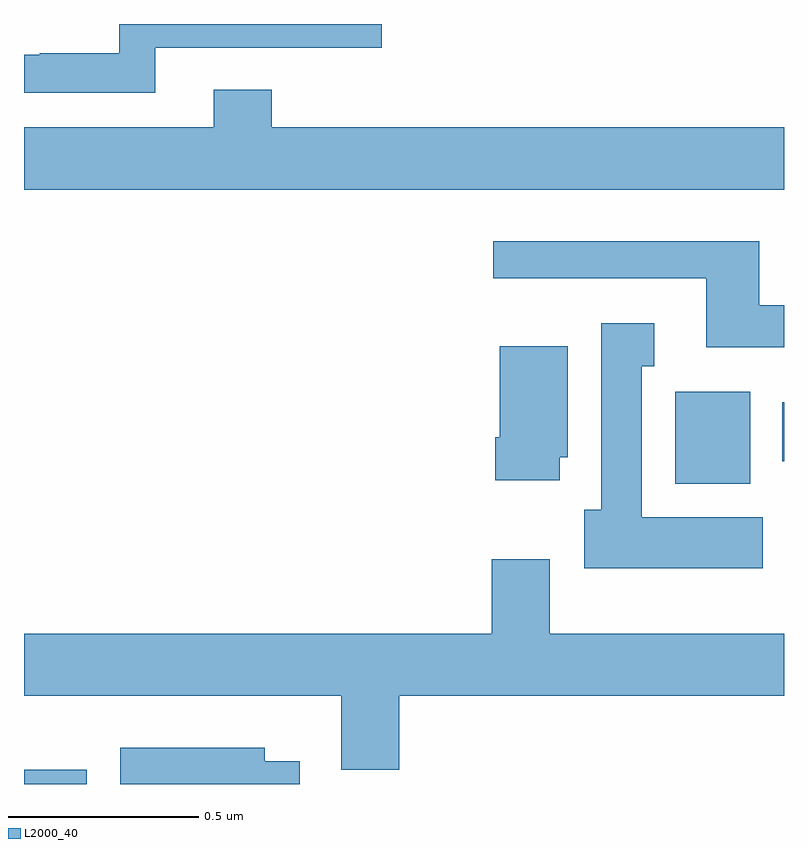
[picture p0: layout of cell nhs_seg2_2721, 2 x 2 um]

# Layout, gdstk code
import gdstk
lib = gdstk.Library(unit=1e-6, precision=1e-09)
def R(c, l, rs):  # rectangles x0, y0, x1, y1
    for r in rs: c.add(gdstk.rectangle(r[:2], r[2:], *l))
def P(c, l, *ps):  # polygons
    for p in ps: c.add(gdstk.Polygon(p, *l))
L2000_40 = (2000, 40)

nhs_seg2_2721 = lib.new_cell('nhs_seg2_2721')
R(nhs_seg2_2721, L2000_40, [(145,584.8,145.165,584.838), (146.714,585.59,146.911,585.832), (146.996,585.649,147,585.805)])
P(nhs_seg2_2721, L2000_40, [(145.345,586.737),(145.942,586.737),(145.942,586.8),(145.251,586.8),(145.251,586.723),(145.042,586.723),(145.042,586.719),(145,586.719),(145,586.619),(145.345,586.619)],
  [(147,586.528),(145.652,586.528),(145.652,586.627),(145.499,586.627),(145.499,586.528),(145,586.528),(145,586.364),(147,586.364)],
  [(147,586.06),(146.935,586.06),(146.935,586.228),(146.235,586.228),(146.235,586.131),(146.795,586.131),(146.795,585.95),(147,585.95)],
  [(146.944,585.502),(146.626,585.502),(146.626,585.899),(146.659,585.899),(146.659,586.012),(146.519,586.012),(146.519,585.522),(146.474,585.522),(146.474,585.368),(146.944,585.368)],
  [(146.41,585.66),(146.431,585.66),(146.431,585.952),(146.252,585.952),(146.252,585.712),(146.24,585.712),(146.24,585.6),(146.41,585.6)],
  [(145.988,585.032),(147,585.032),(147,585.196),(146.383,585.196),(146.383,585.391),(146.231,585.391),(146.231,585.196),(145,585.196),(145,585.032),(145.835,585.032),(145.835,584.838),(145.988,584.838)],
  [(145.726,584.86),(145.633,584.86),(145.633,584.896),(145.253,584.896),(145.253,584.8),(145.726,584.8)])

lib.write_gds('nhs_seg2_2721.gds')
